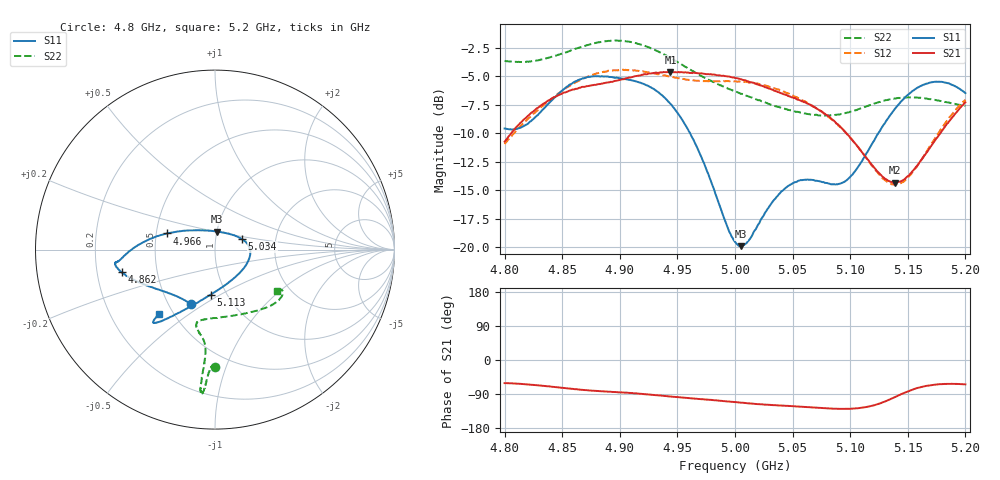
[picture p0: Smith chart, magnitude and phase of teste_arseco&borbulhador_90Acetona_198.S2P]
! Network Analyzer HP8722D
! Hewlett-Packard
! Data name: Linha & Wilkinson
! Saver's name: Rodrigo Anjos
! Comments: Teste da utilização de aquisição
! continua pelo VNA HP8722D
! Time and date: 17/4/2025 12:42
!  Frequency  S11  S21  S12  S22
# HZ  S  MA R 50
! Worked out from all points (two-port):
!   401 points, 4.8 GHz to 5.2 GHz, reference 50 ohm
!   highest |S21| = -4.62 dB at 4.944 GHz (marker M1); lowest = -14.3 dB at 5.139 GHz (marker M2)
!   |S21| within 3 dB of the highest: 4.831 GHz to 5.067 GHz (236.7 MHz wide, 4.78 % of centre); 5.196773 GHz to end of sweep
!   lowest |S11| = -19.9 dB at 5.005 GHz (marker M3), VSWR 1.23, Z = 50.2 + j10.2 ohm
!   |S11| at or under -10 dB: 4.961 GHz to 5.124 GHz (163.3 MHz wide, 3.24 % of centre)
!   |S22| runs from -8.5 to -1.9 dB; largest |S21 - S12| = 0.88
!   S11 on the Smith chart (normalised r, x): 4.8 GHz: 0.65, -0.44; 4.862 GHz: 0.31, -0.11; 4.966 GHz: 0.57, +0.11; 5.034 GHz: 1.34, +0.16; 5.113 GHz: 0.84, -0.45; 5.2 GHz: 0.42, -0.39
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4.8e9  0.3318 -113.8  0.2905 -61.0  0.2837 -175.1  0.6562 -89.8
4.819e9  0.3456 -133.8  0.3719 -64.3  0.3601 -173.8  0.6516 -91.5
4.862e9  0.5349 -166.3  0.4958 -77.0  0.5302 -177.1  0.7438 -93.8
4.867e9  0.5477 -168.3  0.5046 -78.6  0.5457 -177.9  0.7569 -94.0
4.899e9  0.5518 -172.8  0.5399 -85.3  0.5982 175.4  0.8038 -95.4
4.934e9  0.4763 -179.0  0.5823 -93.4  0.5742 171.8  0.7184 -96.0
4.944e9  0.4251 176.3  0.5872 -96.3  0.5598 171.9  0.6771 -95.6
4.966e9  0.2816 161.4  0.5809 -102.2  0.5378 173.8  0.5817 -95.2
5e9  0.1059 99.9  0.5525 -111.2  0.5352 176.2  0.482 -99.4
5.005e9  0.1012 82.9  0.5457 -112.5  0.5332 176.1  0.4707 -100.6
5.012e9  0.1073 60.9  0.5321 -114.4  0.5276 175.9  0.4579 -102.2
5.034e9  0.1618 21.3  0.4856 -119.3  0.4977 174.6  0.4181 -103.8
5.05e9  0.1909 5.0  0.4541 -121.9  0.4637 174.1  0.3972 -100.0
5.067e9  0.1974 -13.2  0.4177 -125.1  0.4178 173.6  0.3816 -91.0
5.093e9  0.1918 -57.5  0.3314 -128.9  0.3299 174.0  0.3844 -70.8
5.113e9  0.2522 -95.5  0.2507 -124.7  0.2504 179.9  0.4133 -55.2
5.134e9  0.3753 -116.8  0.195 -104.6  0.1913 -157.5  0.4452 -43.1
5.139e9  0.4059 -119.8  0.1921 -97.6  0.1891 -149.4  0.4494 -40.9
5.151e9  0.4703 -124.9  0.2068 -81.6  0.2046 -130.9  0.4545 -36.5
5.17e9  0.5283 -129.4  0.2767 -66.4  0.2813 -112.5  0.4461 -32.1
5.184e9  0.5257 -130.7  0.3478 -63.0  0.3588 -107.2  0.4326 -31.2
5.2e9  0.4742 -131.1  0.4321 -64.4  0.4437 -106.5  0.4158 -33.5
